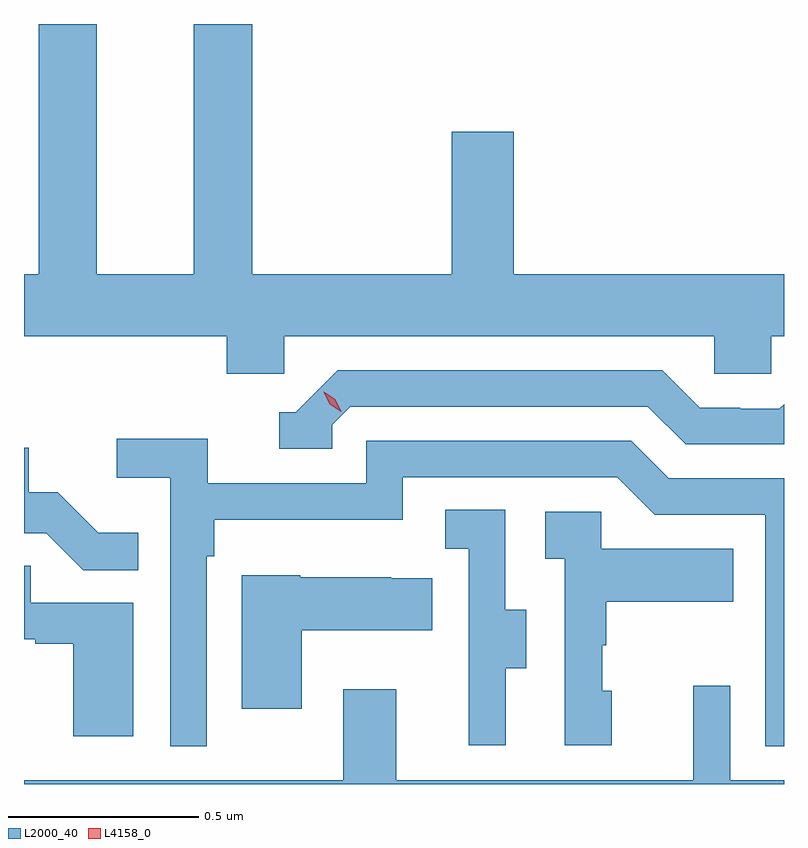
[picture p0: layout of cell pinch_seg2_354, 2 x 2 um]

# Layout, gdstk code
import gdstk
lib = gdstk.Library(unit=1e-6, precision=1e-09)
def P(c, l, *ps):  # polygons
    for p in ps: c.add(gdstk.Polygon(p, *l))
L2000_40 = (2000, 40)
L4158_0 = (4158, 0)

pinch_seg2_354 = lib.new_cell('pinch_seg2_354')
P(pinch_seg2_354, L2000_40, [(955.776,644.972),(956.907,644.972),(956.907,644.874),(957.057,644.874),(957.057,644.972),(957.091,644.972),(957.091,645.136),(956.38,645.136),(956.38,645.511),(956.216,645.511),(956.216,645.136),(955.691,645.136),(955.691,645.794),(955.538,645.794),(955.538,645.136),(955.282,645.136),(955.282,645.794),(955.13,645.794),(955.13,645.136),(955.091,645.136),(955.091,644.972),(955.625,644.972),(955.625,644.874),(955.776,644.874)],
  [(955.902,644.739),(955.95,644.787),(956.733,644.787),(956.832,644.688),(957.091,644.688),(957.091,644.793),(957.079,644.781),(956.976,644.781),(956.976,644.784),(956.869,644.784),(956.77,644.883),(955.917,644.883),(955.806,644.772),(955.763,644.772),(955.763,644.676),(955.902,644.676)],
  [(955.572,644.393),(955.592,644.393),(955.592,644.489),(956.088,644.489),(956.088,644.601),(956.652,644.601),(956.751,644.502),(957.042,644.502),(957.042,643.893),(957.091,643.893),(957.091,644.598),(956.788,644.598),(956.689,644.697),(955.992,644.697),(955.992,644.586),(955.574,644.586),(955.574,644.702),(955.335,644.702),(955.335,644.6),(955.476,644.6),(955.476,643.893),(955.572,643.893)],
  [(955.391,644.455),(955.287,644.455),(955.18,644.562),(955.104,644.562),(955.104,644.679),(955.091,644.679),(955.091,644.454),(955.149,644.454),(955.247,644.356),(955.391,644.356)],
  [(956.359,644.098),(956.413,644.098),(956.413,644.253),(956.358,644.253),(956.358,644.516),(956.199,644.516),(956.199,644.413),(956.262,644.413),(956.262,644.109),(956.261,644.109),(956.261,643.896),(956.359,643.896)],
  [(956.638,644.04),(956.613,644.04),(956.613,644.159),(956.623,644.159),(956.623,644.273),(956.957,644.273),(956.957,644.413),(956.61,644.413),(956.61,644.511),(956.463,644.511),(956.463,644.387),(956.514,644.387),(956.514,643.896),(956.638,643.896)],
  [(955.378,644.271),(955.109,644.271),(955.109,644.369),(955.091,644.369),(955.091,644.175),(955.121,644.175),(955.121,644.163),(955.22,644.163),(955.22,643.92),(955.378,643.92)],
  [(955.822,644.198),(956.165,644.198),(956.165,644.335),(956.057,644.335),(956.057,644.338),(955.818,644.338),(955.818,644.344),(955.664,644.344),(955.664,643.992),(955.822,643.992)],
  [(957.091,643.804),(956.949,643.804),(956.949,644.053),(956.852,644.053),(956.852,643.804),(956.071,643.804),(956.071,644.044),(955.931,644.044),(955.931,643.804),(955.091,643.804),(955.091,643.794),(957.091,643.794)])
P(pinch_seg2_354, L4158_0, [(955.926,644.773),(955.895,644.793),(955.88,644.826),(955.88,644.826),(955.88,644.826),(955.91,644.806),(955.926,644.773),(955.926,644.773)])

lib.write_gds('pinch_seg2_354.gds')
